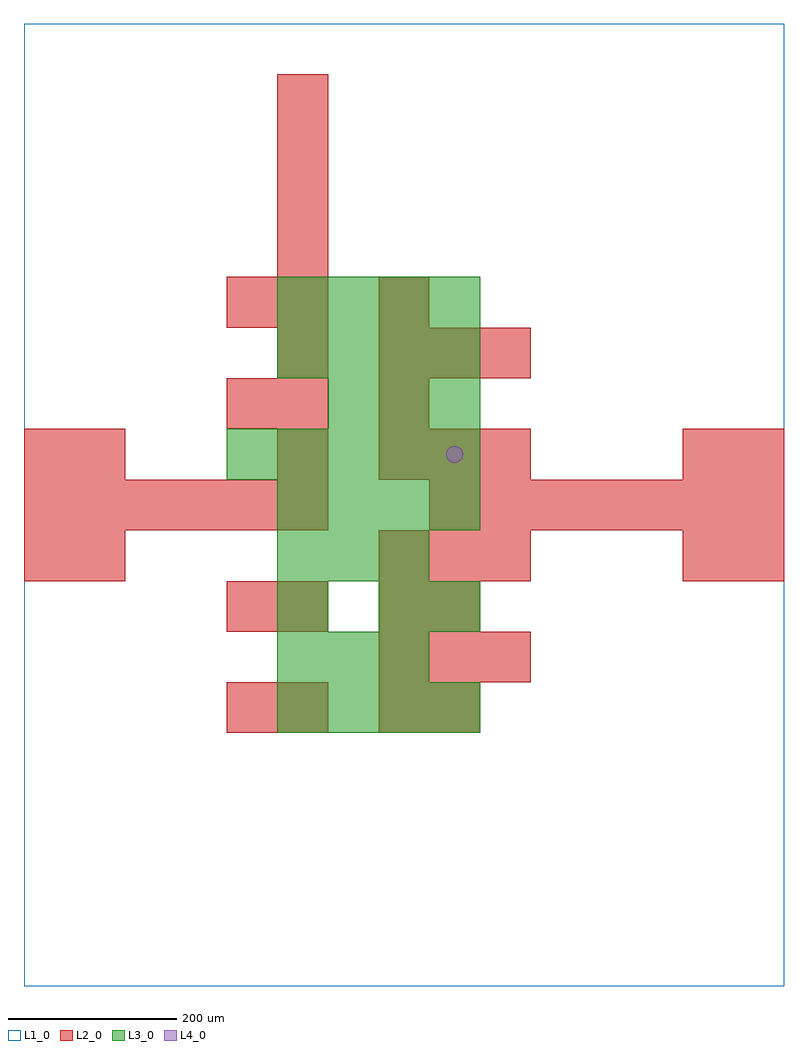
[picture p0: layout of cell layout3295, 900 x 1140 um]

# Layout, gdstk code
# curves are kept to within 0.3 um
import gdstk
lib = gdstk.Library(unit=1e-6, precision=1e-09)
def R(c, l, rs):  # rectangles x0, y0, x1, y1
    for r in rs: c.add(gdstk.rectangle(r[:2], r[2:], *l))
def A(c, l, x, y, w, h, nx, ny, dx, dy):  # array of equal rectangles
    R(c, l, [(x+i*dx, y+j*dy, x+i*dx+w, y+j*dy+h) for i in range(nx) for j in range(ny)])
def P(c, l, *ps):  # polygons
    for p in ps: c.add(gdstk.Polygon(p, *l))
L1_0 = (1, 0)
L2_0 = (2, 0)
L3_0 = (3, 0)
L4_0 = (4, 0)

layout3295 = lib.new_cell('layout3295')
R(layout3295, L1_0, [(0,0,900,1140)])
A(layout3295, L2_0, 420, 360, 60, 60, 3, 4, 60, 120)
A(layout3295, L2_0, 0, 540, 60, 60, 6, 1, 60, 0)
A(layout3295, L2_0, 480, 540, 60, 60, 7, 1, 60, 0)
A(layout3295, L2_0, 300, 600, 60, 60, 1, 8, 0, 60)
R(layout3295, L2_0, [(240,300,300,360), (300,300,360,360), (420,300,480,360), (480,300,540,360), (240,420,300,480), (300,420,360,480), (420,420,480,480), (480,420,540,480), (0,480,60,540), (60,480,120,540), (780,480,840,540), (840,480,900,540), (0,600,60,660), (60,600,120,660), (780,600,840,660), (840,600,900,660), (240,660,300,720), (420,660,480,720), (240,780,300,840), (420,780,480,840)])
A(layout3295, L3_0, 300, 300, 60, 60, 4, 2, 60, 240)
A(layout3295, L3_0, 300, 360, 60, 60, 3, 2, 60, 120)
A(layout3295, L3_0, 240, 600, 60, 60, 5, 1, 60, 0)
A(layout3295, L3_0, 360, 660, 60, 60, 3, 1, 60, 0)
A(layout3295, L3_0, 300, 720, 60, 60, 4, 2, 60, 60)
R(layout3295, L3_0, [(300,420,360,480), (420,420,480,480), (480,420,540,480)])
P(layout3295, L4_0, [(520,630),(519.239,633.827),(517.071,637.071),(513.827,639.239),(510,640),(506.173,639.239),(502.929,637.071),(500.761,633.827),(500,630),(500.761,626.173),(502.929,622.929),(506.173,620.761),(510,620),(513.827,620.761),(517.071,622.929),(519.239,626.173)])

lib.write_gds('layout3295.gds')
